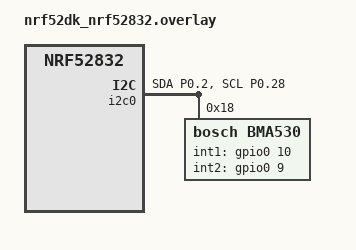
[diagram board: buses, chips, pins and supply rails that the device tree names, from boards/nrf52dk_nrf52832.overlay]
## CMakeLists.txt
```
cmake_minimum_required(VERSION 3.20.0)
list(APPEND EXTRA_ZEPHYR_MODULES "${CMAKE_CURRENT_SOURCE_DIR}/../bma530_module")
find_package(Zephyr REQUIRED HINTS $ENV{ZEPHYR_BASE})
project(bma530_app)

target_sources(app PRIVATE src/main.c)
```

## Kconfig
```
menu "BMA530 App"
source "Kconfig.zephyr"
endmenu

module = BMA530_APP
module-str= BMA530_APP
source "subsys/logging/Kconfig.template.log_config"
```

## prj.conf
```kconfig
CONFIG_SENSOR=y
CONFIG_SENSOR_BMA530=y
#CONFIG_SENSOR_BMA530_TRIGGER=y # Disable if not using interrupts

# Logging
CONFIG_LOG=y
CONFIG_LOG_DEFAULT_LEVEL=3
CONFIG_LOG_MODE_MINIMAL=n
CONFIG_LOG_MODE_IMMEDIATE=y
CONFIG_LOG_BACKEND_RTT_MODE_DROP=y
CONFIG_LOG_PRINTK=y
CONFIG_USE_SEGGER_RTT=y
CONFIG_LOG_BACKEND_RTT_MESSAGE_SIZE=256
CONFIG_SEGGER_RTT_BUFFER_SIZE_UP=4096
CONFIG_LOG_BACKEND_RTT=y
CONFIG_LOG_BACKEND_UART=n

# Increase stack if needed for logging
CONFIG_MAIN_STACK_SIZE=4096
```

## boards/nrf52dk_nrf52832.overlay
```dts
&pinctrl {
    i2c0_default: i2c0_default {
        group1 {
            psels = <NRF_PSEL(TWIM_SDA, 0, 2)>,   /* SDA P0.02 */
                    <NRF_PSEL(TWIM_SCL, 0, 28)>;  /* SCL P0.28 */
        };
    };
    i2c0_sleep: i2c0_sleep {
        group1 {
            psels = <NRF_PSEL(TWIM_SDA, 0, 2)>,
                    <NRF_PSEL(TWIM_SCL, 0, 28)>;
            low-power-enable;
        };
    };
};

&i2c0 {
    status = "okay";
    pinctrl-0 = <&i2c0_default>;
    pinctrl-1 = <&i2c0_sleep>;
    pinctrl-names = "default", "sleep";

    bma530: bma530@18 {
        status = "okay";
        compatible = "bosch,bma530";
        reg = <0x18>;
        label = "BMA530";

        /* Initial Config, odr and range */
        odr = <100>;
        range = <8>;

        /* INT1 = P0.10, INT2 = P0.09 */
        int1-gpios = <&gpio0 10 GPIO_ACTIVE_HIGH>;
        int2-gpios = <&gpio0  9 GPIO_ACTIVE_HIGH>;
    };
};
```

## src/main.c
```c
#include <zephyr/devicetree.h>
#include <zephyr/device.h>
#include <zephyr/drivers/sensor.h>
#include <zephyr/kernel.h>
#include <zephyr/logging/log.h>
LOG_MODULE_REGISTER(app, LOG_LEVEL_INF);

const struct device *dev = DEVICE_DT_GET(DT_NODELABEL(bma530));

int main(void)
{
   
    if (!device_is_ready(dev)) {
        LOG_ERR("BMA530 not ready");
        return -1;
    }

    while (1) {
        struct sensor_value x, y, z;
        if (sensor_sample_fetch(dev) == 0 &&
            sensor_channel_get(dev, SENSOR_CHAN_ACCEL_X, &x) == 0 &&
            sensor_channel_get(dev, SENSOR_CHAN_ACCEL_Y, &y) == 0 &&
            sensor_channel_get(dev, SENSOR_CHAN_ACCEL_Z, &z) == 0) {
            LOG_INF("RAW: x=%d y=%d z=%d", x.val1, y.val1, z.val1);
        }
        k_sleep(K_MSEC(10));
    }
    return 0;
}
```
